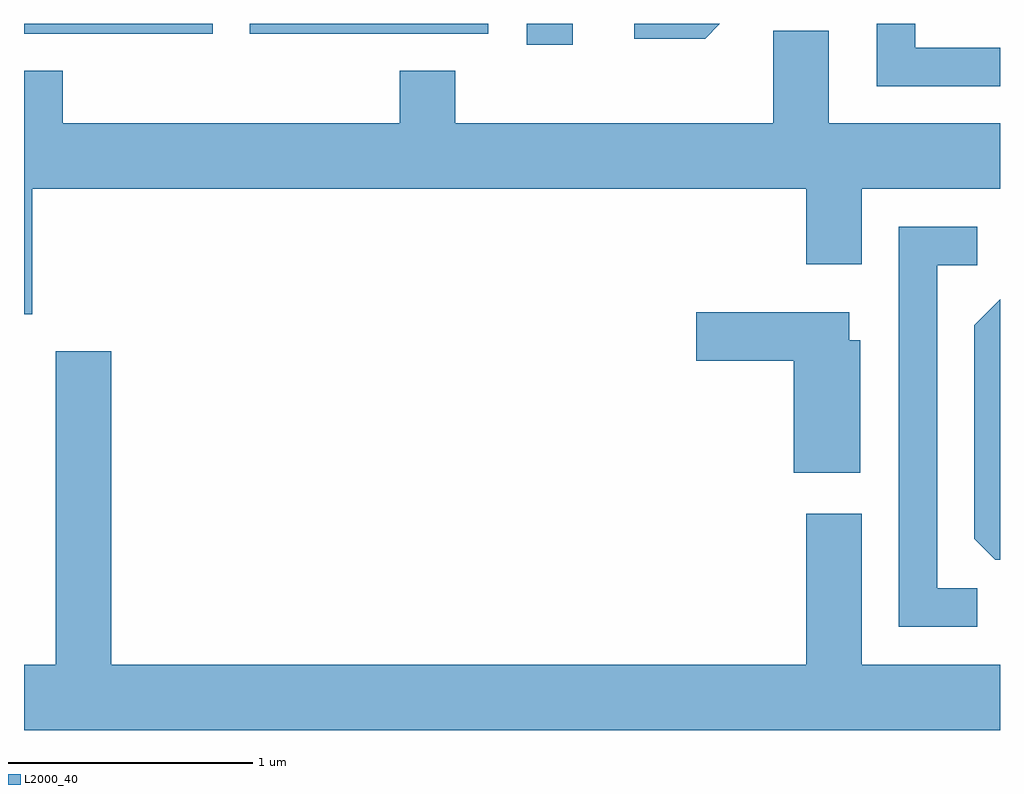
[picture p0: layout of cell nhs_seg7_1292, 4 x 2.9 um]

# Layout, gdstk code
import gdstk
lib = gdstk.Library(unit=1e-6, precision=1e-09)
def R(c, l, rs):  # rectangles x0, y0, x1, y1
    for r in rs: c.add(gdstk.rectangle(r[:2], r[2:], *l))
def P(c, l, *ps):  # polygons
    for p in ps: c.add(gdstk.Polygon(p, *l))
L2000_40 = (2000, 40)

nhs_seg7_1292 = lib.new_cell('nhs_seg7_1292')
R(nhs_seg7_1292, L2000_40, [(225.671,1788.166,225.859,1788.252), (223.611,1788.211,224.384,1788.252), (224.536,1788.211,225.514,1788.252)])
P(nhs_seg7_1292, L2000_40, [(226.463,1788.252),(226.113,1788.252),(226.113,1788.191),(226.402,1788.191)],
  [(227.611,1788.154),(227.264,1788.154),(227.264,1788.252),(227.106,1788.252),(227.106,1787.996),(227.611,1787.996)],
  [(223.644,1787.576),(226.816,1787.576),(226.816,1787.266),(227.044,1787.266),(227.044,1787.576),(227.611,1787.576),(227.611,1787.844),(226.909,1787.844),(226.909,1788.224),(226.681,1788.224),(226.681,1787.844),(225.379,1787.844),(225.379,1788.059),(225.151,1788.059),(225.151,1787.844),(223.769,1787.844),(223.769,1788.059),(223.611,1788.059),(223.611,1787.061),(223.644,1787.061)],
  [(227.518,1785.939),(227.354,1785.939),(227.354,1787.261),(227.518,1787.261),(227.518,1787.419),(227.196,1787.419),(227.196,1785.781),(227.518,1785.781)],
  [(227.611,1787.122),(227.506,1787.017),(227.506,1786.142),(227.592,1786.056),(227.611,1786.056)],
  [(227.039,1786.954),(226.994,1786.954),(226.994,1787.069),(226.366,1787.069),(226.366,1786.871),(226.766,1786.871),(226.766,1786.411),(227.039,1786.411)],
  [(227.611,1785.624),(227.044,1785.624),(227.044,1786.244),(226.816,1786.244),(226.816,1785.624),(223.969,1785.624),(223.969,1786.909),(223.741,1786.909),(223.741,1785.624),(223.611,1785.624),(223.611,1785.356),(227.611,1785.356)])

lib.write_gds('nhs_seg7_1292.gds')
